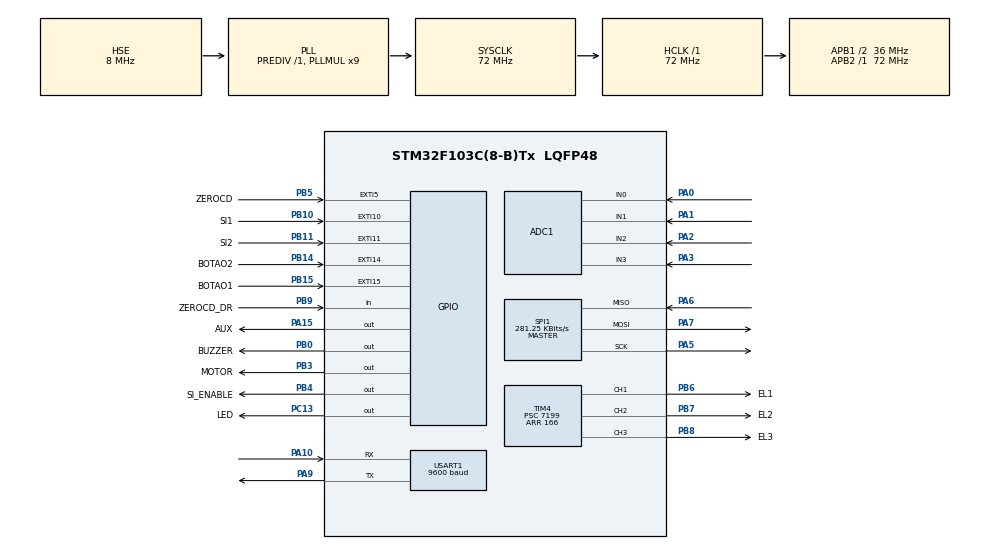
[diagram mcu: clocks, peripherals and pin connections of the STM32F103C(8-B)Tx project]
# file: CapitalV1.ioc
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ADC1.Channel-0\#ChannelRegularConversion=ADC_CHANNEL_0
ADC1.Channel-1\#ChannelRegularConversion=ADC_CHANNEL_1
ADC1.Channel-2\#ChannelRegularConversion=ADC_CHANNEL_2
ADC1.Channel-3\#ChannelRegularConversion=ADC_CHANNEL_3
ADC1.ContinuousConvMode=DISABLE
ADC1.NbrOfConversion=4
ADC1.NbrOfConversionFlag=1
ADC1.Rank-0\#ChannelRegularConversion=1
ADC1.Rank-1\#ChannelRegularConversion=2
ADC1.Rank-2\#ChannelRegularConversion=3
ADC1.Rank-3\#ChannelRegularConversion=4
ADC1.SamplingTime-0\#ChannelRegularConversion=ADC_SAMPLETIME_239CYCLES_5
ADC1.SamplingTime-1\#ChannelRegularConversion=ADC_SAMPLETIME_239CYCLES_5
ADC1.SamplingTime-2\#ChannelRegularConversion=ADC_SAMPLETIME_239CYCLES_5
ADC1.SamplingTime-3\#ChannelRegularConversion=ADC_SAMPLETIME_239CYCLES_5
ADC1.master=1
Dma.ADC1.0.Direction=DMA_PERIPH_TO_MEMORY
Dma.ADC1.0.Instance=DMA1_Channel1
Dma.ADC1.0.MemDataAlignment=DMA_MDATAALIGN_HALFWORD
Dma.ADC1.0.MemInc=DMA_MINC_ENABLE
Dma.ADC1.0.Mode=DMA_NORMAL
Dma.ADC1.0.PeriphDataAlignment=DMA_PDATAALIGN_HALFWORD
Dma.ADC1.0.PeriphInc=DMA_PINC_DISABLE
Dma.ADC1.0.Priority=DMA_PRIORITY_LOW
Dma.Request0=ADC1
Mcu.Family=STM32F1
Mcu.Name=STM32F103C(8-B)Tx
Mcu.Package=LQFP48
NVIC.ADC1_2_IRQn=true\:0\:0\:false\:false\:true\:true\:true\:true
NVIC.DMA1_Channel1_IRQn=true\:0\:0\:false\:false\:true\:false\:true\:true
NVIC.EXTI15_10_IRQn=true\:0\:0\:false\:false\:true\:true\:true\:true
NVIC.EXTI9_5_IRQn=true\:0\:0\:false\:false\:true\:true\:true\:true
NVIC.PriorityGroup=NVIC_PRIORITYGROUP_4
NVIC.SPI1_IRQn=true\:0\:0\:false\:false\:true\:true\:true\:true
NVIC.TIM4_IRQn=true\:0\:0\:false\:false\:true\:true\:true\:true
NVIC.USART1_IRQn=true\:0\:0\:false\:false\:true\:true\:true\:true
PA0-WKUP.Signal=ADCx_IN0
PA1.Signal=ADCx_IN1
PA10.Mode=Asynchronous
PA10.Signal=USART1_RX
PA13.Mode=Serial_Wire
PA13.Signal=SYS_JTMS-SWDIO
PA14.Mode=Serial_Wire
PA14.Signal=SYS_JTCK-SWCLK
PA15.GPIO_Label=AUX
PA15.Signal=GPIO_Output
PA2.Signal=ADCx_IN2
PA3.Signal=ADCx_IN3
PA5.Mode=Full_Duplex_Master
PA5.Signal=SPI1_SCK
PA6.Mode=Full_Duplex_Master
PA6.Signal=SPI1_MISO
PA7.Mode=Full_Duplex_Master
PA7.Signal=SPI1_MOSI
PA9.Mode=Asynchronous
PA9.Signal=USART1_TX
PB0.GPIO_Label=BUZZER
PB0.Signal=GPIO_Output
PB10.GPIO_Label=SI1
PB10.Signal=GPXTI10
PB11.GPIO_Label=SI2
PB11.Signal=GPXTI11
PB14.GPIO_Label=BOTAO2
PB14.Signal=GPXTI14
PB15.GPIO_Label=BOTAO1
PB15.Signal=GPXTI15
PB3.GPIO_Label=MOTOR
PB3.Signal=GPIO_Output
PB4.GPIO_Label=SI_ENABLE
PB4.Signal=GPIO_Output
PB5.GPIO_Label=ZEROCD
PB5.Signal=GPXTI5
PB6.GPIO_Label=EL1
PB6.Signal=S_TIM4_CH1
PB7.GPIO_Label=EL2
PB7.Signal=S_TIM4_CH2
PB8.GPIO_Label=EL3
PB8.Signal=S_TIM4_CH3
PB9.GPIO_Label=ZEROCD_DR
PB9.Signal=GPIO_Input
PC13-TAMPER-RTC.GPIO_Label=LED
PC13-TAMPER-RTC.Signal=GPIO_Output
PD0-OSC_IN.Mode=HSE-External-Oscillator
PD0-OSC_IN.Signal=RCC_OSC_IN
PD1-OSC_OUT.Mode=HSE-External-Oscillator
PD1-OSC_OUT.Signal=RCC_OSC_OUT
ProjectManager.HeapSize=0x200
ProjectManager.StackSize=0x400
ProjectManager.TargetToolchain=STM32CubeIDE
RCC.ADCPresc=RCC_ADCPCLK2_DIV6
RCC.AHBFreq_Value=72000000
RCC.APB1CLKDivider=RCC_HCLK_DIV2
RCC.APB1Freq_Value=36000000
RCC.APB1TimFreq_Value=72000000
RCC.APB2Freq_Value=72000000
RCC.APB2TimFreq_Value=72000000
RCC.HCLKFreq_Value=72000000
RCC.PLLMUL=RCC_PLL_MUL9
RCC.PLLSourceVirtual=RCC_PLLSOURCE_HSE
RCC.SYSCLKFreq_VALUE=72000000
RCC.SYSCLKSource=RCC_SYSCLKSOURCE_PLLCLK
RCC.USBFreq_Value=72000000
SH.ADCx_IN0.0=ADC1_IN0,IN0
SH.ADCx_IN1.0=ADC1_IN1,IN1
SH.ADCx_IN2.0=ADC1_IN2,IN2
SH.ADCx_IN3.0=ADC1_IN3,IN3
SH.S_TIM4_CH1.0=TIM4_CH1,PWM Generation1 CH1
SH.S_TIM4_CH2.0=TIM4_CH2,PWM Generation2 CH2
SH.S_TIM4_CH3.0=TIM4_CH3,PWM Generation3 CH3
SPI1.BaudRatePrescaler=SPI_BAUDRATEPRESCALER_256
SPI1.CalculateBaudRate=281.25 KBits/s
SPI1.Direction=SPI_DIRECTION_2LINES
SPI1.Mode=SPI_MODE_MASTER
SPI1.VirtualType=VM_MASTER
TIM4.Channel-PWM\ Generation1\ CH1=TIM_CHANNEL_1
TIM4.Channel-PWM\ Generation2\ CH2=TIM_CHANNEL_2
TIM4.Channel-PWM\ Generation3\ CH3=TIM_CHANNEL_3
TIM4.Period=166
TIM4.Prescaler=7199
USART1.BaudRate=9600
USART1.VirtualMode=VM_ASYNC
VP_TIM4_VS_ClockSourceINT.Mode=Internal
board=custom

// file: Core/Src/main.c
/* USER CODE BEGIN Header */
/**
  ******************************************************************************
  * @file           : main.c
  * @brief          : Main program body
  ******************************************************************************
  * @attention
  *
  * Copyright (c) 2024 STMicroelectronics.
  * All rights reserved.
  *
  * This software is licensed under terms that can be found in the LICENSE file
  * in the root directory of this software component.
  * If no LICENSE file comes with this software, it is provided AS-IS.
  *
  ******************************************************************************
  */
/* USER CODE END Header */
#include "main.h"
#include "adc.h"
#include "dma.h"
#include "spi.h"
#include "tim.h"
#include "usart.h"
#include "gpio.h"

/* USER CODE BEGIN Includes */
#include "stdbool.h"
#include "string.h"
#include "stdio.h"
#include <unistd.h>
#include "math.h"
/* USER CODE END Includes */

/* USER CODE BEGIN PD */
#define ANALOG_READS 4
#define VOLTAGE_REF 3.3
#define ADC_TO_VOLT VOLTAGE_REF/4096.0
#define QTD_MEDIA 100

#define BLOCOCALIBRACAO	1000.0
#define AJUSTEVIBRACAO 50 //mudei Valor 13950 - 15
/* USER CODE END PD */

/* USER CODE BEGIN PV */

uint32_t ADCReadings[ANALOG_READS];
uint32_t anBuff[ANALOG_READS];
bool ADC_Complete = false;

float valorMassa = 0;
float valorMassaAux1 = 0;
float valorMassaAux2 = 0;
float valorMassaAux3 = 0;

uint8_t byteRx;
bool txOK = false;
bool rxOK = false;

struct Struct_mensagemQ{
	float peso;
	float pesoTara;
	float pesoPadrao;
} mensagemQ;

uint8_t page = 0;

float peso;
float pesoTara = 1445;
float pesoPadrao = 2251;

uint16_t pesoLimite1 = 30;
uint16_t pesoLimite2 = 80;
uint16_t pesoLimite3 = 90;

uint16_t potencia1 = 100;
uint16_t potencia2 = 100;
uint16_t potencia3 = 100;

bool vibrar = false;
bool vibrando = false;

volatile uint8_t estadoVibracao = 0;

uint16_t ADC_ContRead = 0;
uint16_t leituraAN2[QTD_MEDIA] = {0};

uint16_t timer_bfr = 0; // Timer before
uint16_t timer_bfr2 = 0;
uint16_t timer_bfr3 = 0;
uint16_t timer_curr = 0;

uint8_t byte;
uint8_t delimiter = '@';
uint8_t rxBuf[11];
uint8_t buffer[11];
uint8_t rxIndex = 0;

uint8_t TX_Buffer[40];
uint8_t txSize;
uint8_t str_valorMedido[7];
uint8_t pesoSize = 0;

char bufAux[10];
uint8_t contAux = 0;
uint8_t contPV = 0;
bool motor = false;

float pesoMedido = 0.0;

bool si2 = false;

uint16_t timer_diff;
uint16_t timer_diff2;
uint16_t timer_diff3;

int16_t flag= -1;

uint8_t delimeterCont = 0;

/* USER CODE END PV */

void SystemClock_Config(void);
/* USER CODE BEGIN PFP */
void HAL_UART_RxCpltCallback(UART_HandleTypeDef *huart);
void HAL_TIM_PeriodElapsedCallback(TIM_HandleTypeDef *htim);
void HAL_GPIO_EXTI_Callback(uint16_t GPIO_Pin);
void setPWM(TIM_HandleTypeDef timer, uint32_t channel, uint16_t period, uint16_t pulse);
void StartComTask(void const * argument);
uint8_t conv_toText(uint8_t *str, uint16_t valor);

/* USER CODE END PFP */

int main(void)
{

  /* MCU Configuration--------------------------------------------------------*/

  /* Reset of all peripherals, Initializes the Flash interface and the Systick. */
  HAL_Init();

  /* Configure the system clock */
  SystemClock_Config();

  /* Initialize all configured peripherals */
  MX_GPIO_Init();
  MX_DMA_Init();
  MX_ADC1_Init();
  MX_SPI1_Init();
  MX_USART1_UART_Init();
  MX_TIM4_Init();
  /* USER CODE BEGIN 2 */

	HAL_TIM_Base_Start(&htim4);

	HAL_TIM_PWM_Start(&htim4,TIM_CHANNEL_1);
	HAL_TIM_PWM_Start(&htim4,TIM_CHANNEL_2);
	HAL_TIM_PWM_Start(&htim4,TIM_CHANNEL_3);

	__HAL_TIM_SET_COMPARE(&htim4, TIM_CHANNEL_1, 0);
	__HAL_TIM_SET_COMPARE(&htim4, TIM_CHANNEL_2, 0);
	__HAL_TIM_SET_COMPARE(&htim4, TIM_CHANNEL_3, 0);

	HAL_ADCEx_Calibration_Start(&hadc1);

	HAL_ADC_Start_DMA(&hadc1, (uint32_t*)&ADCReadings, ANALOG_READS);

  /* USER CODE END 2 */

  /* Infinite loop */
  /* USER CODE BEGIN WHILE */
	while (1) {

		timer_curr = HAL_GetTick();

	/* ------------------------------------Start - ADC Reading-----------------------------------------------*/

		timer_diff = timer_curr - timer_bfr;

		if (timer_diff >= 5){ // a cada 5ms é feito a leitura das portas ADC

			if(ADC_Complete) {

				ADC_Complete = false;
				HAL_ADC_Stop_DMA(&hadc1);

				for(int i = 0 ; i < ANALOG_READS; i++){
					anBuff[i] = ADCReadings[i];
				}

				leituraAN2[ADC_ContRead] = anBuff[1];

				if(ADC_ContRead == (QTD_MEDIA-1)) {
					ADC_ContRead = 0;
				} else {
					ADC_ContRead++;
				}

				//Média

				valorMassaAux2 = 0;

				for(int i = 0; i < QTD_MEDIA; i++) {
					valorMassaAux2 += (float)leituraAN2[i];
				}

				valorMassaAux2 = valorMassaAux2/(float)QTD_MEDIA;

				peso = valorMassaAux2;

				HAL_ADC_Start_DMA(&hadc1, (uint32_t*)&ADCReadings, ANALOG_READS);

			}
			timer_bfr = timer_curr;
		}

	/* ------------------------------------Stop - ADC Reading-----------------------------------------------*/

	/* ------------------------------------SI_ENABLE SET OFF-----------------------------------------------*/

		HAL_GPIO_WritePin(SI_ENABLE_GPIO_Port, SI_ENABLE_Pin, GPIO_PIN_RESET);
		HAL_Delay(10);

	/* ----------------------------------------------------------------------------------------------------*/

	/* ------------------------------------Start - IHM Communication-----------------------------------------*/

		timer_diff2 = timer_curr - timer_bfr2;

		// if (timer_diff2 >= 300){ // a cada 300ms recebe um novo byte

		// 	timer_bfr2 = timer_curr;
		// }

			if(rxOK) {

				// Recebendo valores Display Nextion
				if(rxBuf[0]==0xff){
					flag = 0;

					switch(rxBuf[1]) {
						case 0xfa:
							page = rxBuf[2];
							flag = 1;

							break;

						case 0xe0: // Calibração
							if(rxBuf[2] == 0) { // Tara
								pesoTara = peso;
							} else { // Padrão
								pesoPadrao = peso;

								// set level baixo PWM
								__HAL_TIM_SET_COMPARE(&htim4, TIM_CHANNEL_1, 0);
								__HAL_TIM_SET_COMPARE(&htim4, TIM_CHANNEL_2, 0);
								__HAL_TIM_SET_COMPARE(&htim4, TIM_CHANNEL_3, 0);
							}
							flag = 2;
							break;

						case 0xf0:

							pesoLimite1 = rxBuf[3];
							pesoLimite1 = rxBuf[2] + (pesoLimite1<<8);
							flag = 3;
							break;

						case 0xf1:
							pesoLimite2 = rxBuf[3];
							pesoLimite2 = rxBuf[2] + (pesoLimite2<<8);
							flag = 4;
							break;
						case 0xf2:
							pesoLimite3 = rxBuf[3];
							pesoLimite3 = rxBuf[2] + (pesoLimite3<<8);
							flag = 5;
							break;
						case 0xf3:
							potencia2 = rxBuf[3];
							potencia2 = rxBuf[2] + (potencia2<<8);
							flag = 6;
							break;
						case 0xf4:
							potencia1 = rxBuf[3];
							potencia1 = rxBuf[2] + (potencia1<<8);
							flag = 7;
							break;
						case 0xf5:
							potencia3 = rxBuf[3];
							potencia3 = rxBuf[2] + (potencia3<<8);
							flag = 8;
							break;
						// case 0xb0: //Não utilizado
						// 	if(rxBuf[rxIndex-1] == 0) {
						// 		__HAL_TIM_SET_COMPARE(&htim4, TIM_CHANNEL_1, 0);
						// 	} else {
						// 		__HAL_TIM_SET_COMPARE(&htim4, TIM_CHANNEL_1, potencia1);
						// 	}
						// 	flag = 9;
						// 	break;

						// case 0xb1: //Não utilizado
						// 	if(rxBuf[rxIndex-1] == 0) {
						// 		__HAL_TIM_SET_COMPARE(&htim4, TIM_CHANNEL_2, 0);
						// 	} else {
						// 		__HAL_TIM_SET_COMPARE(&htim4, TIM_CHANNEL_2, potencia2);
						// 	}
						// 	flag = 10;
						// 	break;

						// case 0xb2: //Não utilizado
						// 	if(rxBuf[rxIndex-1] == 0) {
						// 		__HAL_TIM_SET_COMPARE(&htim4, TIM_CHANNEL_3, 0);
						// 	} else {
						// 		__HAL_TIM_SET_COMPARE(&htim4, TIM_CHANNEL_3, potencia3);
						// 	}
						// 	flag = 11;
						// 	break;
					}
					rxOK = false;
				}

				flag = -3;

			}

			HAL_UART_Receive_IT(&huart1, &byteRx, 1);

			if(peso < pesoTara) {
				pesoMedido = 0;
			} else {
				pesoMedido = BLOCOCALIBRACAO*((peso-pesoTara)/(pesoPadrao-pesoTara));
			}

			switch (page) { // mudei sem o dois
				case 0:
					vibrar = false;
					vibrando = false;
					estadoVibracao = 5;
					break;
				case 1:
					// Página de Configuração
					break;
				case 2:
					// Página de Operação
					// Enviar Dados de Peso

					pesoSize = conv_toText(str_valorMedido, pesoMedido);
					TX_Buffer[0]='t';
					TX_Buffer[1]='5';
					TX_Buffer[2]='.';
					TX_Buffer[3]='t';
					TX_Buffer[4]='x';
					TX_Buffer[5]='t';
					TX_Buffer[6]='=';
					TX_Buffer[7]='"';

					for(int i = 0; i<pesoSize; i++) {
						TX_Buffer[8+i] = str_valorMedido[i];
					}

					TX_Buffer[8+pesoSize]='"';
					TX_Buffer[9+pesoSize]=0xFF;
					TX_Buffer[10+pesoSize]=0xFF;
					TX_Buffer[11+pesoSize]=0xFF;
					txSize = 12+pesoSize;

					if(estadoVibracao == 5) {
						estadoVibracao = 0;
					}

	/* ------------------------------------Sart - IHM / Vibration Control-----------------------------------------*/
					timer_diff3 = timer_curr - timer_bfr3;

					if(timer_diff3 >= 100) {

						if (vibrar){ // a cada 100ms o programa verifica o estado de vibração

							if(!vibrando) {

								// se não estiver vibrando, set PWM em 0
								__HAL_TIM_SET_COMPARE(&htim4, TIM_CHANNEL_1, 0);
								__HAL_TIM_SET_COMPARE(&htim4, TIM_CHANNEL_2, 0);
								__HAL_TIM_SET_COMPARE(&htim4, TIM_CHANNEL_3, 0);
								HAL_Delay(100); //500

								if(potencia2>0)	{
									__HAL_TIM_SET_COMPARE(&htim4, TIM_CHANNEL_2, round(AJUSTEVIBRACAO * (potencia2/100)));
								}
								if(potencia1>0) {
									__HAL_TIM_SET_COMPARE(&htim4, TIM_CHANNEL_1,round(AJUSTEVIBRACAO * (potencia1/100)));
								}
								if(potencia3>0)	{
									__HAL_TIM_SET_COMPARE(&htim4, TIM_CHANNEL_3, round(AJUSTEVIBRACAO * (potencia3/100)));
								}

								estadoVibracao = 1;
								vibrando = true;
							} else {

								if(pesoMedido > pesoLimite1) { //

									__HAL_TIM_SET_COMPARE(&htim4, TIM_CHANNEL_1, 0);
									__HAL_TIM_SET_COMPARE(&htim4, TIM_CHANNEL_2, 0);
									__HAL_TIM_SET_COMPARE(&htim4, TIM_CHANNEL_3, 0);
									estadoVibracao = 4;
									vibrando = false;
									vibrar = false;

								} else {
									if(pesoMedido > (pesoLimite3*pesoLimite1)/100.0) {
										__HAL_TIM_SET_COMPARE(&htim4, TIM_CHANNEL_1, 0);
										__HAL_TIM_SET_COMPARE(&htim4, TIM_CHANNEL_2, 0);
										estadoVibracao = 3;
									} else {
										if(estadoVibracao == 3) {
											__HAL_TIM_SET_COMPARE(&htim4, TIM_CHANNEL_1, 0);
											__HAL_TIM_SET_COMPARE(&htim4, TIM_CHANNEL_2, 0);
											__HAL_TIM_SET_COMPARE(&htim4, TIM_CHANNEL_3, 0);
											HAL_Delay(100); // mudei 300
											if(potencia1>0)	{
												__HAL_TIM_SET_COMPARE(&htim4, TIM_CHANNEL_1, round(AJUSTEVIBRACAO * (potencia1/100)));
											}
											if(potencia3>0)	{
												__HAL_TIM_SET_COMPARE(&htim4, TIM_CHANNEL_3, round(AJUSTEVIBRACAO * (potencia3/100)));
											}
											estadoVibracao = 2;
										} else {
											if(pesoMedido > (pesoLimite2*pesoLimite1)/100.0) {
												__HAL_TIM_SET_COMPARE(&htim4, TIM_CHANNEL_2, 0);
												estadoVibracao = 2;
												HAL_GPIO_WritePin(LED_GPIO_Port, LED_Pin, GPIO_PIN_RESET);
											} else {
												if(estadoVibracao==2) {
													__HAL_TIM_SET_COMPARE(&htim4, TIM_CHANNEL_1, 0);
													__HAL_TIM_SET_COMPARE(&htim4, TIM_CHANNEL_2, 0);
													__HAL_TIM_SET_COMPARE(&htim4, TIM_CHANNEL_3, 0);
													HAL_Delay(100); // mudei 300
													if(potencia2>0)	{
														__HAL_TIM_SET_COMPARE(&htim4, TIM_CHANNEL_2, round(AJUSTEVIBRACAO * (potencia2/100)));
													}
													if(potencia1>0)	{
														__HAL_TIM_SET_COMPARE(&htim4, TIM_CHANNEL_1, round(AJUSTEVIBRACAO * (potencia1/100)));
													}
													if(potencia3>0)	{
														__HAL_TIM_SET_COMPARE(&htim4, TIM_CHANNEL_3, round(AJUSTEVIBRACAO * (potencia3/100)));
													}
													HAL_GPIO_WritePin(LED_GPIO_Port, LED_Pin, GPIO_PIN_SET);
													estadoVibracao = 1;
												}
											}
										}
									}
								}
							}

						} else {
							__HAL_TIM_SET_COMPARE(&htim4, TIM_CHANNEL_1, 0);
							__HAL_TIM_SET_COMPARE(&htim4, TIM_CHANNEL_2, 0);
							__HAL_TIM_SET_COMPARE(&htim4, TIM_CHANNEL_3, 0);
							estadoVibracao = 0;
						}

						timer_bfr3 = timer_curr;

					}

	/* ------------------------------------Stop - IHM / Vibration Control-----------------------------------------*/

					TX_Buffer[txSize]='v';
					TX_Buffer[txSize+1]='a';
					TX_Buffer[txSize+2]='0';
					TX_Buffer[txSize+3]='.';
					TX_Buffer[txSize+4]='v';
					TX_Buffer[txSize+5]='a';
					TX_Buffer[txSize+6]='l';
					TX_Buffer[txSize+7]='=';
					TX_Buffer[txSize+8]= estadoVibracao + '0';
					TX_Buffer[txSize+9]=0xFF;
					TX_Buffer[txSize+10]=0xFF;
					TX_Buffer[txSize+11]=0xFF;
					txSize = txSize + 12;

					HAL_UART_Transmit_IT(&huart1, TX_Buffer, txSize);

					break;

				case 3: // Página de Teclado
					break;
				case 4: // Página de Calibração
						// Enviar Dados de Peso
					pesoSize = conv_toText(str_valorMedido, pesoMedido);
					TX_Buffer[0]='t';
					TX_Buffer[1]='5';
					TX_Buffer[2]='.';
					TX_Buffer[3]='t';
					TX_Buffer[4]='x';
					TX_Buffer[5]='t';
					TX_Buffer[6]='=';
					TX_Buffer[7]='"';

					for(int i = 0; i<pesoSize; i++) {
						TX_Buffer[8+i] = str_valorMedido[i];
					}

					TX_Buffer[8+pesoSize]='"';
					TX_Buffer[9+pesoSize]=0xFF;
					TX_Buffer[10+pesoSize]=0xFF;
					TX_Buffer[11+pesoSize]=0xFF;
					txSize = 12+pesoSize;

					HAL_UART_Transmit_IT(&huart1, TX_Buffer, txSize);

					break;

				case 5: // Página Logo Capital
					break;
				default:
					break;
			}
		}

    /* USER CODE END WHILE */

	  }

void SystemClock_Config(void)
{
  RCC_OscInitTypeDef RCC_OscInitStruct = {0};
  RCC_ClkInitTypeDef RCC_ClkInitStruct = {0};
  RCC_PeriphCLKInitTypeDef PeriphClkInit = {0};

  /** Initializes the RCC Oscillators according to the specified parameters
  * in the RCC_OscInitTypeDef structure.
  */
  RCC_OscInitStruct.OscillatorType = RCC_OSCILLATORTYPE_HSE;
  RCC_OscInitStruct.HSEState = RCC_HSE_ON;
  RCC_OscInitStruct.HSEPredivValue = RCC_HSE_PREDIV_DIV1;
  RCC_OscInitStruct.HSIState = RCC_HSI_ON;
  RCC_OscInitStruct.PLL.PLLState = RCC_PLL_ON;
  RCC_OscInitStruct.PLL.PLLSource = RCC_PLLSOURCE_HSE;
  RCC_OscInitStruct.PLL.PLLMUL = RCC_PLL_MUL9;
  if (HAL_RCC_OscConfig(&RCC_OscInitStruct) != HAL_OK)
  {
    Error_Handler();
  }

  /** Initializes the CPU, AHB and APB buses clocks
  */
  RCC_ClkInitStruct.ClockType = RCC_CLOCKTYPE_HCLK|RCC_CLOCKTYPE_SYSCLK
                              |RCC_CLOCKTYPE_PCLK1|RCC_CLOCKTYPE_PCLK2;
  RCC_ClkInitStruct.SYSCLKSource = RCC_SYSCLKSOURCE_PLLCLK;
  RCC_ClkInitStruct.AHBCLKDivider = RCC_SYSCLK_DIV1;
  RCC_ClkInitStruct.APB1CLKDivider = RCC_HCLK_DIV2;
  RCC_ClkInitStruct.APB2CLKDivider = RCC_HCLK_DIV1;

  if (HAL_RCC_ClockConfig(&RCC_ClkInitStruct, FLASH_LATENCY_2) != HAL_OK)
  {
    Error_Handler();
  }
  PeriphClkInit.PeriphClockSelection = RCC_PERIPHCLK_ADC;
  PeriphClkInit.AdcClockSelection = RCC_ADCPCLK2_DIV6;
  if (HAL_RCCEx_PeriphCLKConfig(&PeriphClkInit) != HAL_OK)
  {
    Error_Handler();
  }
}

/* USER CODE BEGIN 4 */

void HAL_ADC_ConvCpltCallback(ADC_HandleTypeDef* hadc){
	if (hadc == &hadc1){

		ADC_Complete = true;

	}
}

void HAL_GPIO_EXTI_Callback(uint16_t GPIO_Pin) {

	if (GPIO_Pin == ZEROCD_Pin)	{ // Detector de Zero
		__HAL_TIM_SET_COUNTER(&htim4, 0);
		//HAL_GPIO_TogglePin(LED_GPIO_Port, LED_Pin);

	}

	if (GPIO_Pin == BOTAO1_Pin) { // Botão I
		// HAL_GPIO_TogglePin(LED_GPIO_Port, LED_Pin);
		if(estadoVibracao == 0 || estadoVibracao == 4) {
			HAL_GPIO_WritePin(MOTOR_GPIO_Port, MOTOR_Pin, GPIO_PIN_SET);
			HAL_GPIO_WritePin(AUX_GPIO_Port, AUX_Pin, GPIO_PIN_SET);
			motor = true;

		}
	}

	if(GPIO_Pin == BOTAO2_Pin) { // Botão II
		//HAL_GPIO_TogglePin(LED_GPIO_Port, LED_Pin);
	}

	if(GPIO_Pin == SI1_Pin) { //Sendor Indutivo I
		HAL_GPIO_TogglePin(LED_GPIO_Port, LED_Pin);
		//HAL_GPIO_WritePin(MOTOR_GPIO_Port, MOTOR_Pin, GPIO_PIN_RESET);
	}

	if(GPIO_Pin == SI2_Pin)	{ // Sensor Indutivo II
		si2 = true;
		// HAL_GPIO_TogglePin(LED_GPIO_Port, LED_Pin);
		HAL_GPIO_WritePin(MOTOR_GPIO_Port, MOTOR_Pin, GPIO_PIN_RESET);
		HAL_GPIO_WritePin(AUX_GPIO_Port, AUX_Pin, GPIO_PIN_RESET);
		vibrar = true;
		motor = false;
	}
}

void HAL_TIM_PeriodElapsedCallback(TIM_HandleTypeDef *htim)
{
	/* USER CODE BEGIN Callback 0 */

	/* USER CODE END Callback 0 */
	if (htim->Instance == TIM1) {
		HAL_IncTick();
	}
	/* USER CODE BEGIN Callback 1 */
	if (htim->Instance == TIM4) {

	}
	/* USER CODE END Callback 1 */
}

void HAL_UART_TxCpltCallback(UART_HandleTypeDef *huart)
{
	txOK = true;
}

void HAL_UART_RxCpltCallback(UART_HandleTypeDef *huart)
{
	if (huart->Instance == USART1)
  	{
		buffer[rxIndex] = byteRx;
		rxIndex++;

		if(byteRx == delimiter) {
			memcpy(rxBuf, buffer, sizeof(buffer));
			rxOK=true;
			rxIndex=0;
		}

		if (rxIndex > sizeof(buffer))

        {
            rxIndex = 0;
        }

		HAL_UART_Receive_IT(&huart1, &byteRx, 1);

  	}
}

uint8_t conv_toText(uint8_t *str, uint16_t valor) {
	if(valor < 0) {
				str[6] = '!';
				str[5] = 'o';
				str[4] = 'r';
				str[3] = 'r';
				str[2] = 'E';
				str[1] = '-';
				str[0] = '-';
				return 7;
	} else {
		if(valor < 10){
			str[0] = (uint8_t)(valor%10) + '0';
			return 1;
		} else{
			if(valor < 100){
				str[1] = (uint8_t)(valor%10) + '0';
				str[0] = (uint8_t)(valor/10) + '0';
				return 2;
			} else {
				if(valor < 1000) {
					str[2] = (uint8_t)(valor%10) + '0';
					str[1] = (uint8_t)((valor%100)/10) + '0';
					str[0] = (uint8_t)(valor/100) + '0';
					return 3;
				} else {
					if(valor < 10000)	{
						str[3] = (uint8_t)(valor%10) + '0';
						str[2] = (uint8_t)((valor%100)/10) + '0';
						str[1] = (uint8_t)((valor%1000)/100) + '0';
						str[0] = (uint8_t)(valor/1000) + '0';
						return 4;
					} else {
						str[4] = (uint8_t)(valor%10) + '0';
						str[3] = (uint8_t)((valor%100)/10) + '0';
						str[2] = (uint8_t)((valor%1000)/100) + '0';
						str[1] = (uint8_t)((valor%10000)/1000) + '0';
						str[0] = (uint8_t)(valor/10000) + '0';
						return 5;
					}
				}
			}
		}
	}
}

/* USER CODE END 4 */

void Error_Handler(void)
{
	__disable_irq();
	while (1)
	{
	}
}
